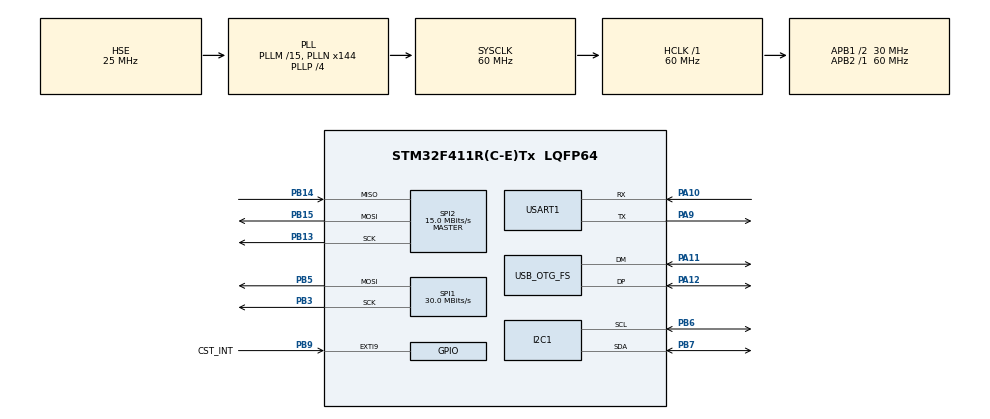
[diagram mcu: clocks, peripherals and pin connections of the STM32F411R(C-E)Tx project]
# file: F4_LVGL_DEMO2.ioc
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Dma.Request0=SPI1_TX
Dma.SPI1_TX.0.Direction=DMA_MEMORY_TO_PERIPH
Dma.SPI1_TX.0.FIFOMode=DMA_FIFOMODE_DISABLE
Dma.SPI1_TX.0.Instance=DMA2_Stream5
Dma.SPI1_TX.0.MemDataAlignment=DMA_MDATAALIGN_HALFWORD
Dma.SPI1_TX.0.MemInc=DMA_MINC_ENABLE
Dma.SPI1_TX.0.Mode=DMA_NORMAL
Dma.SPI1_TX.0.PeriphDataAlignment=DMA_PDATAALIGN_HALFWORD
Dma.SPI1_TX.0.PeriphInc=DMA_PINC_DISABLE
Dma.SPI1_TX.0.Priority=DMA_PRIORITY_LOW
FATFS._MAX_SS=4096
FATFS._MIN_SS=4096
FREERTOS.Tasks01=main,24,128,App_main,Default,NULL,Dynamic,NULL,NULL;lvgl,8,1024,App_lvgl,Default,NULL,Dynamic,NULL,NULL
FREERTOS.configENABLE_FPU=1
FREERTOS.configTOTAL_HEAP_SIZE=24576
Mcu.Family=STM32F4
Mcu.Name=STM32F411R(C-E)Tx
Mcu.Package=LQFP64
NVIC.DMA2_Stream5_IRQn=true\:5\:0\:false\:false\:true\:false\:false\:true\:true
NVIC.EXTI9_5_IRQn=true\:5\:0\:true\:false\:true\:false\:true\:true\:true
NVIC.PriorityGroup=NVIC_PRIORITYGROUP_4
NVIC.TIM1_TRG_COM_TIM11_IRQn=true\:15\:0\:false\:false\:true\:false\:false\:true\:true
NVIC.TimeBase=TIM1_TRG_COM_TIM11_IRQn
NVIC.TimeBaseIP=TIM11
PA10.Mode=Asynchronous
PA10.Signal=USART1_RX
PA11.Mode=Device_Only
PA11.Signal=USB_OTG_FS_DM
PA12.Mode=Device_Only
PA12.Signal=USB_OTG_FS_DP
PA9.Mode=Asynchronous
PA9.Signal=USART1_TX
PB13.Mode=Full_Duplex_Master
PB13.Signal=SPI2_SCK
PB14.Mode=Full_Duplex_Master
PB14.Signal=SPI2_MISO
PB15.Mode=Full_Duplex_Master
PB15.Signal=SPI2_MOSI
PB3.Mode=TX_Only_Simplex_Unidirect_Master
PB3.Signal=SPI1_SCK
PB5.Mode=TX_Only_Simplex_Unidirect_Master
PB5.Signal=SPI1_MOSI
PB6.Mode=I2C
PB6.Signal=I2C1_SCL
PB7.Mode=I2C
PB7.Signal=I2C1_SDA
PB9.GPIO_Label=CST_INT
PB9.GPIO_ModeDefaultEXTI=GPIO_MODE_IT_FALLING
PB9.Signal=GPXTI9
PC14-OSC32_IN.Mode=LSE-External-Oscillator
PC14-OSC32_IN.Signal=RCC_OSC32_IN
PC15-OSC32_OUT.Mode=LSE-External-Oscillator
PC15-OSC32_OUT.Signal=RCC_OSC32_OUT
PH0\ -\ OSC_IN.Mode=HSE-External-Oscillator
PH0\ -\ OSC_IN.Signal=RCC_OSC_IN
PH1\ -\ OSC_OUT.Mode=HSE-External-Oscillator
PH1\ -\ OSC_OUT.Signal=RCC_OSC_OUT
ProjectManager.HeapSize=0x4000
ProjectManager.StackSize=0x2000
ProjectManager.TargetToolchain=CMake
RCC.48MHZClocksFreq_Value=48000000
RCC.AHBFreq_Value=60000000
RCC.APB1CLKDivider=RCC_HCLK_DIV2
RCC.APB1Freq_Value=30000000
RCC.APB1TimFreq_Value=60000000
RCC.APB2Freq_Value=60000000
RCC.APB2TimFreq_Value=60000000
RCC.CortexFreq_Value=60000000
RCC.HCLKFreq_Value=60000000
RCC.HSE_VALUE=25000000
RCC.HSI_VALUE=16000000
RCC.PLLM=15
RCC.PLLN=144
RCC.PLLP=RCC_PLLP_DIV4
RCC.PLLQ=5
RCC.SYSCLKFreq_VALUE=60000000
RCC.SYSCLKSource=RCC_SYSCLKSOURCE_PLLCLK
RCC.VCOOutputFreq_Value=240000000
SPI1.BaudRatePrescaler=SPI_BAUDRATEPRESCALER_2
SPI1.CalculateBaudRate=30.0 MBits/s
SPI1.Direction=SPI_DIRECTION_2LINES
SPI1.Mode=SPI_MODE_MASTER
SPI1.VirtualType=VM_MASTER
SPI2.CalculateBaudRate=15.0 MBits/s
SPI2.Direction=SPI_DIRECTION_2LINES
SPI2.Mode=SPI_MODE_MASTER
SPI2.VirtualType=VM_MASTER
USART1.VirtualMode=VM_ASYNC
USB_OTG_FS.VirtualMode=Device_Only
VP_FATFS_VS_Generic.Mode=User_defined
VP_FREERTOS_VS_CMSIS_V2.Mode=CMSIS_V2
VP_SYS_VS_tim11.Mode=TIM11
board=custom

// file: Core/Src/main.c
/* USER CODE BEGIN Header */
/**
  ******************************************************************************
  * @file           : main.c
  * @brief          : Main program body
  ******************************************************************************
  * @attention
  *
  * Copyright (c) 2026 STMicroelectronics.
  * All rights reserved.
  *
  * This software is licensed under terms that can be found in the LICENSE file
  * in the root directory of this software component.
  * If no LICENSE file comes with this software, it is provided AS-IS.
  *
  ******************************************************************************
  */
/* USER CODE END Header */
#include "main.h"
#include "cmsis_os.h"
#include "dma.h"
#include "fatfs.h"
#include "i2c.h"
#include "spi.h"
#include "usart.h"
#include "usb_otg.h"
#include "gpio.h"

void SystemClock_Config(void);
void MX_FREERTOS_Init(void);

int main(void)
{

  /* MCU Configuration--------------------------------------------------------*/

  /* Reset of all peripherals, Initializes the Flash interface and the Systick. */
  HAL_Init();

  /* Configure the system clock */
  SystemClock_Config();

  /* Initialize all configured peripherals */
  MX_GPIO_Init();
  MX_DMA_Init();
  MX_I2C1_Init();
  MX_SPI1_Init();
  MX_USART1_UART_Init();
  MX_SPI2_Init();
  MX_USB_OTG_FS_PCD_Init();
  MX_FATFS_Init();

  /* Init scheduler */
  osKernelInitialize();  /* Call init function for freertos objects (in cmsis_os2.c) */
  MX_FREERTOS_Init();

  /* Start scheduler */
  osKernelStart();

  /* We should never get here as control is now taken by the scheduler */

  /* Infinite loop */
  while (1)
  {

  }
}

void SystemClock_Config(void)
{
  RCC_OscInitTypeDef RCC_OscInitStruct = {0};
  RCC_ClkInitTypeDef RCC_ClkInitStruct = {0};

  /** Configure the main internal regulator output voltage
  */
  __HAL_RCC_PWR_CLK_ENABLE();
  __HAL_PWR_VOLTAGESCALING_CONFIG(PWR_REGULATOR_VOLTAGE_SCALE1);

  /** Initializes the RCC Oscillators according to the specified parameters
  * in the RCC_OscInitTypeDef structure.
  */
  RCC_OscInitStruct.OscillatorType = RCC_OSCILLATORTYPE_HSE;
  RCC_OscInitStruct.HSEState = RCC_HSE_ON;
  RCC_OscInitStruct.PLL.PLLState = RCC_PLL_ON;
  RCC_OscInitStruct.PLL.PLLSource = RCC_PLLSOURCE_HSE;
  RCC_OscInitStruct.PLL.PLLM = 15;
  RCC_OscInitStruct.PLL.PLLN = 144;
  RCC_OscInitStruct.PLL.PLLP = RCC_PLLP_DIV4;
  RCC_OscInitStruct.PLL.PLLQ = 5;
  if (HAL_RCC_OscConfig(&RCC_OscInitStruct) != HAL_OK)
  {
    Error_Handler();
  }

  /** Initializes the CPU, AHB and APB buses clocks
  */
  RCC_ClkInitStruct.ClockType = RCC_CLOCKTYPE_HCLK|RCC_CLOCKTYPE_SYSCLK
                              |RCC_CLOCKTYPE_PCLK1|RCC_CLOCKTYPE_PCLK2;
  RCC_ClkInitStruct.SYSCLKSource = RCC_SYSCLKSOURCE_PLLCLK;
  RCC_ClkInitStruct.AHBCLKDivider = RCC_SYSCLK_DIV1;
  RCC_ClkInitStruct.APB1CLKDivider = RCC_HCLK_DIV2;
  RCC_ClkInitStruct.APB2CLKDivider = RCC_HCLK_DIV1;

  if (HAL_RCC_ClockConfig(&RCC_ClkInitStruct, FLASH_LATENCY_1) != HAL_OK)
  {
    Error_Handler();
  }
}

void HAL_TIM_PeriodElapsedCallback(TIM_HandleTypeDef *htim)
{
  if (htim->Instance == TIM11)
  {
    HAL_IncTick();
  }
}

void Error_Handler(void)
{
  __disable_irq();
  while (1)
  {
  }
}

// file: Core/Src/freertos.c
/* USER CODE BEGIN Header */
/**
 ******************************************************************************
 * File Name          : freertos.c
 * Description        : Code for freertos applications
 ******************************************************************************
 * @attention
 *
 * Copyright (c) 2026 STMicroelectronics.
 * All rights reserved.
 *
 * This software is licensed under terms that can be found in the LICENSE file
 * in the root directory of this software component.
 * If no LICENSE file comes with this software, it is provided AS-IS.
 *
 ******************************************************************************
 */
/* USER CODE END Header */

#include "FreeRTOS.h"
#include "task.h"
#include "main.h"
#include "cmsis_os.h"

/* USER CODE BEGIN Includes */
#include "flash_storage.h"
#include "lcd.h"
#include "lcd_init.h"
#include "lv_port_indev.h"
#include "lv_port_lcd_stm32.h"
#include "lvgl.h"
#include "ui.h"
#include "w25q128.h"
#include "w25q128_port.h"
#include "test.h"
/* USER CODE END Includes */

/* USER CODE BEGIN PM */
#define FLASH_TEST_ADDRESS  0xFFF000UL
/* USER CODE END PM */

/* Definitions for main */
osThreadId_t mainHandle;
const osThreadAttr_t main_attributes = {
  .name = "main",
  .stack_size = 128 * 4,
  .priority = (osPriority_t) osPriorityNormal,
};
/* Definitions for lvgl */
osThreadId_t lvglHandle;
const osThreadAttr_t lvgl_attributes = {
  .name = "lvgl",
  .stack_size = 1024 * 4,
  .priority = (osPriority_t) osPriorityLow,
};

/* USER CODE BEGIN FunctionPrototypes */
void my_flush_cb(lv_display_t *disp, const lv_area_t *area, uint8_t *px_buf);
/* USER CODE END FunctionPrototypes */

void App_main(void *argument);
void App_lvgl(void *argument);

void MX_FREERTOS_Init(void); /* (MISRA C 2004 rule 8.1) */

void MX_FREERTOS_Init(void) {

  /* Create the thread(s) */
  /* creation of main */
  mainHandle = osThreadNew(App_main, NULL, &main_attributes);

  /* creation of lvgl */
  lvglHandle = osThreadNew(App_lvgl, NULL, &lvgl_attributes);

}

void App_main(void *argument)
{
  /* USER CODE BEGIN App_main */
    w25q128_init();

    if (!flash_storage_init()) {
        Error_Handler();
    }

    /* 可在调试器中查看 */
    // flash_file_test();
    flash_file_read_only_test();
    /* Infinite loop */
    for (;;) {

        vTaskDelay(pdMS_TO_TICKS(1000));
    }
  /* USER CODE END App_main */
}

void App_lvgl(void *argument)
{
  /* USER CODE BEGIN App_lvgl */
    LCD_Init();

    // 1.调用lv_init
    lv_init();
    // 2.设置时钟
    lv_tick_set_cb(HAL_GetTick);
    lv_delay_set_cb(vTaskDelay);

    // 3.初始化显示设备
    lv_port_disp_init();

    // 4.初始化触摸设备
    lv_port_indev_init();

    /* Create widgets */

    /* Infinite loop */
    for (;;) {
        uint32_t tick = lv_timer_handler();
        vTaskDelay(tick);
    }
  /* USER CODE END App_lvgl */
}
